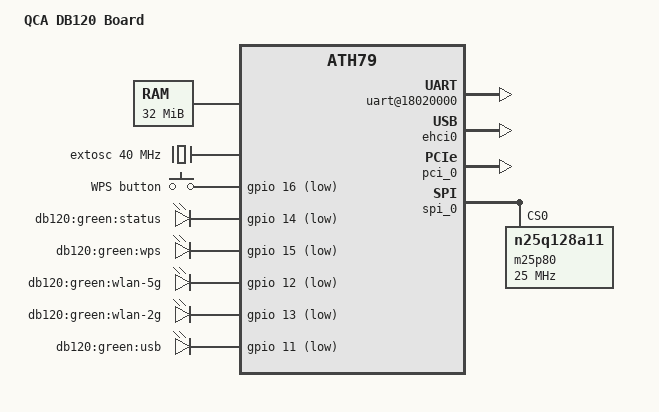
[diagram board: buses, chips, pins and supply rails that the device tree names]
/* Copyright (c) 2017, The Linux Foundation. All rights reserved.
 *
 * Permission to use, copy, modify, and/or distribute this software for any
 * purpose with or without fee is hereby granted, provided that the above
 * copyright notice and this permission notice appear in all copies.
 *
 * THE SOFTWARE IS PROVIDED "AS IS" AND THE AUTHOR DISCLAIMS ALL WARRANTIES
 * WITH REGARD TO THIS SOFTWARE INCLUDING ALL IMPLIED WARRANTIES OF
 * MERCHANTABILITY AND FITNESS. IN NO EVENT SHALL THE AUTHOR BE LIABLE FOR
 * ANY SPECIAL, DIRECT, INDIRECT, OR CONSEQUENTIAL DAMAGES OR ANY DAMAGES
 * WHATSOEVER RESULTING FROM LOSS OF USE, DATA OR PROFITS, WHETHER IN AN
 * ACTION OF CONTRACT, NEGLIGENCE OR OTHER TORTIOUS ACTION, ARISING OUT OF
 * OR IN CONNECTION WITH THE USE OR PERFORMANCE OF THIS SOFTWARE.
 *
 */

/dts-v1/;

#include <dt-bindings/gpio/gpio.h>
#include <dt-bindings/input/input.h>

#include "ath79.dtsi"

/ {
	compatible = "qca,db120", "qca,ath79";
	model = "QCA DB120 Board";

	aliases {
		serial0 = "/ahb/apb/uart@18020000";
		eth0 = "/ahb/ethernet@19000000";
	};

	memory@0 {
		device_type = "memory";
		reg = <0x0 0x2000000>;
	};

	chosen {
		bootargs = "board=DTB console=ttyS0,115200 mtdparts=spi0.0:256k(u-boot)ro,64k(u-boot-env),6336k(rootfs),1472k(kernel),64k(art),7808k@0x50000(firmware) rootfstype=squashfs,jffs2 noinitrd crashkernel=10M@20M";
	};

	extosc: oscillator {
		compatible = "fixed-clock";
		#clock-cells = <0>;
		clock-frequency = <40000000>;
	};


	ahb {
		apb {
			uart@18020000 {
				status = "okay";
				clock-frequency = <40000000>;
			};

			gpio@18040000 {
				val,gpio = <
					0 11     /*VALUE GPIO*/
				>;
			};

			pll-controller@18050000 {
				clocks = <&extosc>;
			};

			ehci0: usb@1b000000 {
				compatible = "qca,ath79-ehci", "qca,db120-ehci";
				reg = <0x1b000000 0x200>;
				interrupt-parent = <&cpuintc>;
				interrupts = <3>;
				has-transaction-translator;
				qca_force_host_mode;
				qca_force_16bit_ptw;
				caps-offset = <0x100>;
				status = "okay";
			};

			pci_0: pci@0x14000000 {
				compatible = "qca,ar724x-pci";
				reg = <0x14000000 0x1000>,
					<0x180f0000 0x100>,
					<0x180c0000 0x1000>,
					<0x10000000 0x04000000>,
					<0 1>;
				reg-names = "cfg_base","ctrl_base","crp_base",
						"mem_base","io_base";
				interrupt-parent = <&ip2_int>;
				interrupts = <0>;
				status = "okay";
			};

		};

		spi_0: spi@1f000000 {
			status = "okay";
			m25p80@0 {
				#address-cells = <1>;
				#size-cells = <1>;
				compatible = "n25q128a11";
				linux,modalias = "m25p80", "n25q128a11";
				reg = <0>;
				spi-max-frequency = <25000000>;
			};
		};
	};

	gpio-keys-polled {
		compatible = "gpio-keys-polled";
		#address-cells = <1>;
		#size-cells = <0>;

		poll-interval = <20>;

		button@0 {
			label = "WPS button";
			linux,code = <KEY_WPS_BUTTON>;
			gpios = <&gpio 16 GPIO_ACTIVE_LOW>;
			debounce-interval = <60>;
		};
	};

	leds {
		compatible = "gpio-leds";
		led@0 {
			label = "db120:green:status";
			gpios = <&gpio 14 GPIO_ACTIVE_LOW>;
		};

		led@1 {
			label = "db120:green:wps";
			gpios = <&gpio 15 GPIO_ACTIVE_LOW>;
		};

		led@2 {
			label = "db120:green:wlan-5g";
			gpios = <&gpio 12 GPIO_ACTIVE_LOW>;
		};

		led@3 {
			label = "db120:green:wlan-2g";
			gpios = <&gpio 13 GPIO_ACTIVE_LOW>;
		};

		led@4 {
			label = "db120:green:usb";
			gpios = <&gpio 11 GPIO_ACTIVE_LOW>;
		};

	};
};
